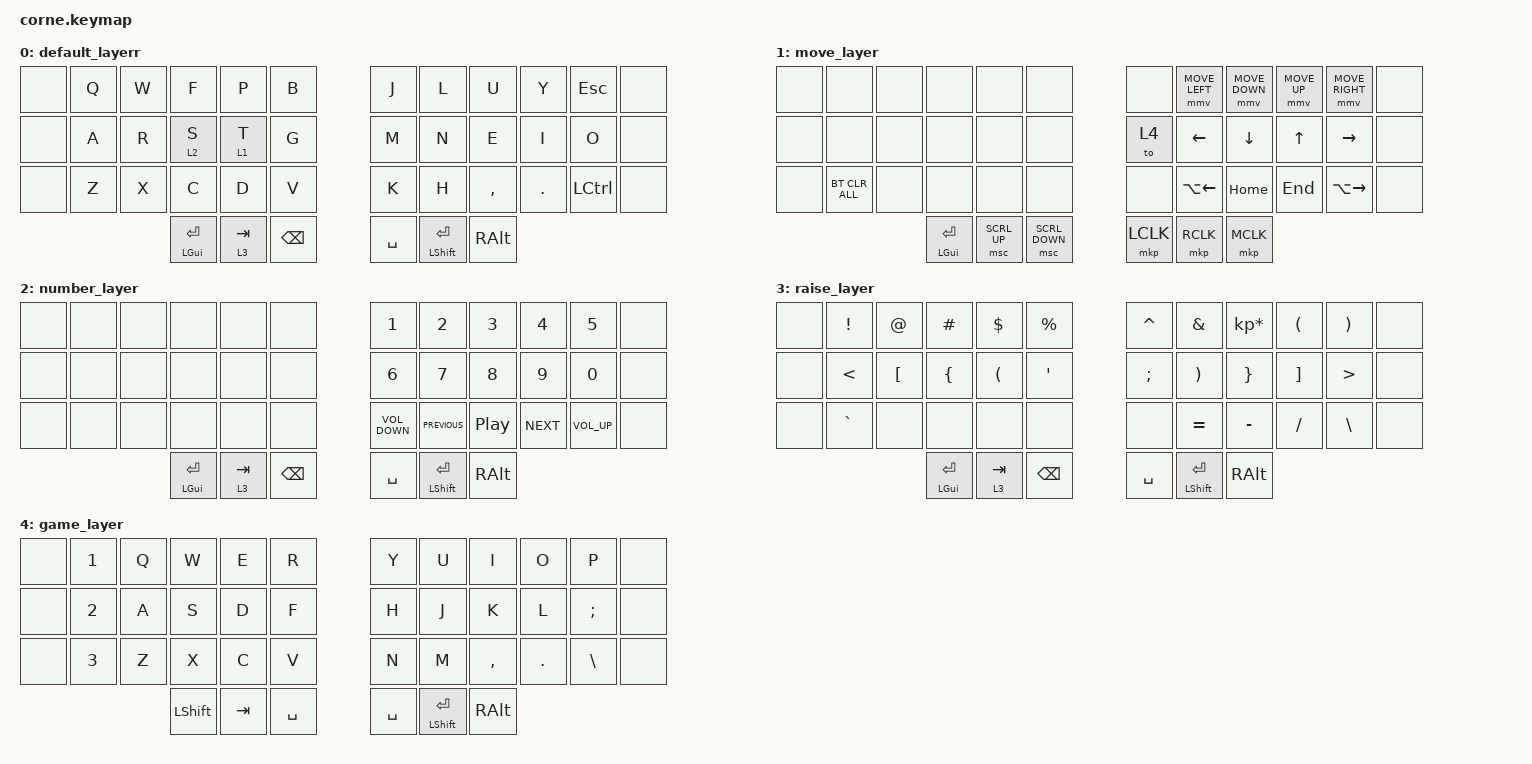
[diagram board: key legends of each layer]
/*
 * Copyright (c) 2020 The ZMK Contributors
 *
 * SPDX-License-Identifier: MIT
 */

#include <behaviors.dtsi>
#include <dt-bindings/zmk/keys.h>
#include <dt-bindings/zmk/bt.h>

#define ZMK_POINTING_DEFAULT_MOVE_VAL 600  // default: 600
#define ZMK_POINTING_DEFAULT_SCRL_VAL 10    // default: 10

#include <dt-bindings/zmk/pointing.h>

&mt {
    tapping-term-ms = <100>;
};

/ {
    keymap {
        compatible = "zmk,keymap";

        default_layerr {
            bindings = <
&none &kp Q         &kp W     &kp F          &kp P      &kp B      &kp J      &kp L      &kp U      &kp Y      &kp ESCAPE              &none 
&none &kp A         &kp R     &lt 2 S        &lt 1 T    &kp G      &kp M      &kp N      &kp E      &kp I      &kp O                   &none 
&none &kp Z         &kp X     &kp C          &kp D      &kp V      &kp K      &kp H      &kp COMMA  &kp DOT    &kp LEFT_CONTROL        &none 
                      &mt LGUI RET &lt 3 TAB &kp BACKSPACE    &kp SPACE  &mt LSHIFT ENTER  &kp RALT
            >;
        };

        move_layer {
            bindings = <
&none &none                   &none    &none    &none      &none  &none  &mmv MOVE_LEFT           &mmv MOVE_DOWN      &mmv MOVE_UP        &mmv MOVE_RIGHT             &none
&none &none                   &none    &none    &none      &none  &to 4  &kp LEFT_ARROW           &kp DOWN_ARROW      &kp UP_ARROW        &kp RIGHT_ARROW             &none
&none &bt BT_CLR_ALL          &none    &none    &none      &none  &none  &kp LA(LEFT_ARROW)       &kp HOME            &kp END             &kp LA(RIGHT_ARROW)         &none
                                                &mt LGUI RET &msc SCRL_UP &msc SCRL_DOWN    &mkp LCLK &mkp RCLK &mkp MCLK
            >;
        };

        number_layer {
            bindings = <
&none &none               &none               &none             &none                &none        &kp N1              &kp N2              &kp N3              &kp N4               &kp N5                      &none
&none &none               &none               &none             &none                &none        &kp N6              &kp N7              &kp N8              &kp N9               &kp N0                      &none
&none &none               &none               &none             &none                &none        &kp C_VOLUME_DOWN   &kp C_PREVIOUS      &kp C_PLAY_PAUSE    &kp C_NEXT           &kp C_VOLUME_UP             &none 
                                                &mt LGUI RET &lt 3 TAB &kp BACKSPACE    &kp SPACE  &mt LSHIFT ENTER  &kp RALT
            >;
        };

        raise_layer {
            bindings = <
&none  &kp EXCL       &kp AT            &kp HASH        &kp DLLR              &kp PRCNT           &kp CARET      &kp AMPS               &kp KP_MULTIPLY  &kp LPAR           &kp RPAR         &none 
&none  &kp LESS_THAN  &kp LEFT_BRACKET  &kp LEFT_BRACE  &kp LEFT_PARENTHESIS  &kp SINGLE_QUOTE    &kp SEMICOLON  &kp RIGHT_PARENTHESIS  &kp RIGHT_BRACE  &kp RIGHT_BRACKET  &kp GREATER_THAN &none 
&none  &kp GRAVE      &none            &none          &none                &none              &none         &kp EQUAL                   &kp MINUS        &kp SLASH          &kp BACKSLASH    &none 
                                         &mt LGUI RET &lt 3 TAB &kp BACKSPACE    &kp SPACE  &mt LSHIFT ENTER  &kp RALT
            >;
        };

        game_layer {
            bindings = <
&none  &kp N1  &kp Q       &kp W            &kp E        &kp R           &kp Y      &kp U               &kp I         &kp O            &kp P            &none 
&none  &kp N2  &kp A       &kp S            &kp D        &kp F           &kp H      &kp J               &kp K         &kp L            &kp SEMICOLON    &none 
&none  &kp N3  &kp Z       &kp X            &kp C        &kp V           &kp N      &kp M               &kp COMMA     &kp DOT          &kp BACKSLASH    &none 
                                         &kp LSHIFT &kp TAB &kp SPACE                &kp SPACE  &mt LSHIFT ENTER  &kp RALT
            >;
        };
    };
};
